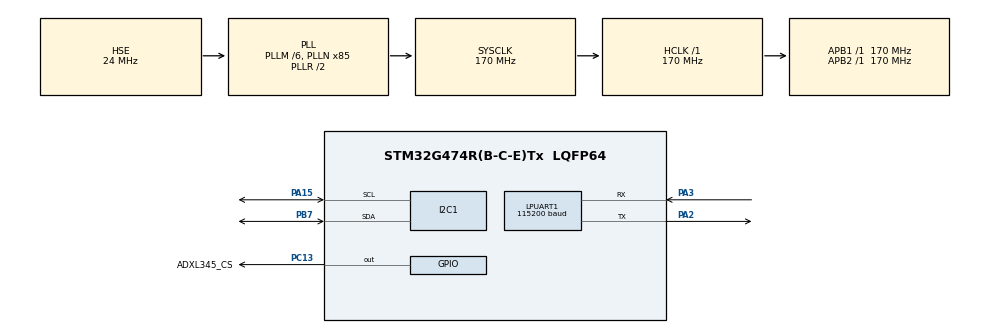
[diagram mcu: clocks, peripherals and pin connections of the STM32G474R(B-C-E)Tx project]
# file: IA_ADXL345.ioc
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FREERTOS.INCLUDE_vTaskDelayUntil=1
FREERTOS.Tasks01=defaultTask,0,256,StartDefaultTask,Default,NULL,Dynamic,NULL,NULL
FREERTOS.configENABLE_FPU=1
FREERTOS.configMINIMAL_STACK_SIZE=256
FREERTOS.configTOTAL_HEAP_SIZE=32768
FREERTOS.configUSE_NEWLIB_REENTRANT=1
I2C1.Timing=0x30A0A7FB
LPUART1.BaudRate=115200
Mcu.Family=STM32G4
Mcu.Name=STM32G474R(B-C-E)Tx
Mcu.Package=LQFP64
NVIC.I2C1_ER_IRQn=true\:5\:0\:false\:false\:true\:true\:true\:true\:true
NVIC.I2C1_EV_IRQn=true\:5\:0\:false\:false\:true\:true\:true\:true\:true
NVIC.LPUART1_IRQn=true\:5\:0\:false\:false\:true\:true\:true\:true\:true
NVIC.PriorityGroup=NVIC_PRIORITYGROUP_4
NVIC.TIM7_DAC_IRQn=true\:15\:0\:false\:false\:true\:false\:false\:true\:true
NVIC.TimeBase=TIM7_DAC_IRQn
NVIC.TimeBaseIP=TIM7
PA13.Mode=Serial_Wire
PA13.Signal=SYS_JTMS-SWDIO
PA14.Mode=Serial_Wire
PA14.Signal=SYS_JTCK-SWCLK
PA15.Mode=I2C
PA15.Signal=I2C1_SCL
PA2.Mode=Asynchronous
PA2.Signal=LPUART1_TX
PA3.Mode=Asynchronous
PA3.Signal=LPUART1_RX
PB7.Mode=I2C
PB7.Signal=I2C1_SDA
PC13.GPIO_Label=ADXL345_CS
PC13.PinState=GPIO_PIN_RESET
PC13.Signal=GPIO_Output
PF0-OSC_IN.Mode=HSE-External-Oscillator
PF0-OSC_IN.Signal=RCC_OSC_IN
PF1-OSC_OUT.Mode=HSE-External-Oscillator
PF1-OSC_OUT.Signal=RCC_OSC_OUT
ProjectManager.HeapSize=0x200
ProjectManager.StackSize=0x400
ProjectManager.TargetToolchain=STM32CubeIDE
RCC.ADC12Freq_Value=170000000
RCC.ADC345Freq_Value=170000000
RCC.AHBFreq_Value=170000000
RCC.APB1Freq_Value=170000000
RCC.APB1TimFreq_Value=170000000
RCC.APB2Freq_Value=170000000
RCC.APB2TimFreq_Value=170000000
RCC.CortexFreq_Value=170000000
RCC.EXTERNAL_CLOCK_VALUE=12288000
RCC.HCLKFreq_Value=170000000
RCC.HSE_VALUE=24000000
RCC.HSI48_VALUE=48000000
RCC.HSI_VALUE=16000000
RCC.LSE_VALUE=32768
RCC.PLLM=RCC_PLLM_DIV6
RCC.PLLN=85
RCC.PLLSourceVirtual=RCC_PLLSOURCE_HSE
RCC.SYSCLKFreq_VALUE=170000000
RCC.SYSCLKSource=RCC_SYSCLKSOURCE_PLLCLK
RCC.USBFreq_Value=170000000
RCC.VCOOutputFreq_Value=340000000
VP_FREERTOS_VS_CMSIS_V1.Mode=CMSIS_V1
VP_SYS_VS_tim7.Mode=TIM7
board=custom

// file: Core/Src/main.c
/* USER CODE BEGIN Header */
/**
  ******************************************************************************
  * @file           : main.c
  * @brief          : Main program body
  ******************************************************************************
  * @attention
  *
  * Copyright (c) 2023 STMicroelectronics.
  * All rights reserved.
  *
  * This software is licensed under terms that can be found in the LICENSE file
  * in the root directory of this software component.
  * If no LICENSE file comes with this software, it is provided AS-IS.
  *
  ******************************************************************************
  */
/* USER CODE END Header */
#include "main.h"
#include "cmsis_os.h"

/* USER CODE BEGIN Includes */
#include "adxl345.h"
#include "print_service.h"
#include <stdio.h>
#include "edge_impulse.h"
/* USER CODE END Includes */

/* USER CODE BEGIN PD */
#define DATA_ACQUISITION			1
#define EDGE_IMPULSE_INFERENCING	2

#define MODE EDGE_IMPULSE_INFERENCING
/* USER CODE END PD */

I2C_HandleTypeDef hi2c1;

UART_HandleTypeDef hlpuart1;

osThreadId defaultTaskHandle;

void SystemClock_Config(void);
static void MX_GPIO_Init(void);
static void MX_I2C1_Init(void);
static void MX_LPUART1_UART_Init(void);
void StartDefaultTask(void const * argument);

int main(void)
{

  /* MCU Configuration--------------------------------------------------------*/

  /* Reset of all peripherals, Initializes the Flash interface and the Systick. */
  HAL_Init();

  /* Configure the system clock */
  SystemClock_Config();

  /* Initialize all configured peripherals */
  MX_GPIO_Init();
  MX_I2C1_Init();
  MX_LPUART1_UART_Init();
  /* USER CODE BEGIN 2 */
  print_service_init(2);
  /* USER CODE END 2 */

  /* Create the thread(s) */
  /* definition and creation of defaultTask */
  osThreadDef(defaultTask, StartDefaultTask, osPriorityNormal, 0, 256);
  defaultTaskHandle = osThreadCreate(osThread(defaultTask), NULL);

  /* USER CODE BEGIN RTOS_THREADS */
  /* add threads, ... */
#if MODE == EDGE_IMPULSE_INFERENCING
  xTaskCreate(Task_edge_impulse, "Edge Impulse", 4*1024, NULL, 1, NULL);
#endif
  /* USER CODE END RTOS_THREADS */

  /* Start scheduler */
  osKernelStart();

  /* We should never get here as control is now taken by the scheduler */
  /* Infinite loop */
  while (1)
  {

  }
}

void SystemClock_Config(void)
{
  RCC_OscInitTypeDef RCC_OscInitStruct = {0};
  RCC_ClkInitTypeDef RCC_ClkInitStruct = {0};

  /** Configure the main internal regulator output voltage
  */
  HAL_PWREx_ControlVoltageScaling(PWR_REGULATOR_VOLTAGE_SCALE1_BOOST);

  /** Initializes the RCC Oscillators according to the specified parameters
  * in the RCC_OscInitTypeDef structure.
  */
  RCC_OscInitStruct.OscillatorType = RCC_OSCILLATORTYPE_HSE;
  RCC_OscInitStruct.HSEState = RCC_HSE_ON;
  RCC_OscInitStruct.PLL.PLLState = RCC_PLL_ON;
  RCC_OscInitStruct.PLL.PLLSource = RCC_PLLSOURCE_HSE;
  RCC_OscInitStruct.PLL.PLLM = RCC_PLLM_DIV6;
  RCC_OscInitStruct.PLL.PLLN = 85;
  RCC_OscInitStruct.PLL.PLLP = RCC_PLLP_DIV2;
  RCC_OscInitStruct.PLL.PLLQ = RCC_PLLQ_DIV2;
  RCC_OscInitStruct.PLL.PLLR = RCC_PLLR_DIV2;
  if (HAL_RCC_OscConfig(&RCC_OscInitStruct) != HAL_OK)
  {
    Error_Handler();
  }

  /** Initializes the CPU, AHB and APB buses clocks
  */
  RCC_ClkInitStruct.ClockType = RCC_CLOCKTYPE_HCLK|RCC_CLOCKTYPE_SYSCLK
                              |RCC_CLOCKTYPE_PCLK1|RCC_CLOCKTYPE_PCLK2;
  RCC_ClkInitStruct.SYSCLKSource = RCC_SYSCLKSOURCE_PLLCLK;
  RCC_ClkInitStruct.AHBCLKDivider = RCC_SYSCLK_DIV1;
  RCC_ClkInitStruct.APB1CLKDivider = RCC_HCLK_DIV1;
  RCC_ClkInitStruct.APB2CLKDivider = RCC_HCLK_DIV1;

  if (HAL_RCC_ClockConfig(&RCC_ClkInitStruct, FLASH_LATENCY_4) != HAL_OK)
  {
    Error_Handler();
  }
}

static void MX_I2C1_Init(void)
{

  hi2c1.Instance = I2C1;
  hi2c1.Init.Timing = 0x30A0A7FB;
  hi2c1.Init.OwnAddress1 = 0;
  hi2c1.Init.AddressingMode = I2C_ADDRESSINGMODE_7BIT;
  hi2c1.Init.DualAddressMode = I2C_DUALADDRESS_DISABLE;
  hi2c1.Init.OwnAddress2 = 0;
  hi2c1.Init.OwnAddress2Masks = I2C_OA2_NOMASK;
  hi2c1.Init.GeneralCallMode = I2C_GENERALCALL_DISABLE;
  hi2c1.Init.NoStretchMode = I2C_NOSTRETCH_DISABLE;
  if (HAL_I2C_Init(&hi2c1) != HAL_OK)
  {
    Error_Handler();
  }

  /** Configure Analogue filter
  */
  if (HAL_I2CEx_ConfigAnalogFilter(&hi2c1, I2C_ANALOGFILTER_ENABLE) != HAL_OK)
  {
    Error_Handler();
  }

  /** Configure Digital filter
  */
  if (HAL_I2CEx_ConfigDigitalFilter(&hi2c1, 0) != HAL_OK)
  {
    Error_Handler();
  }

}

static void MX_LPUART1_UART_Init(void)
{

  hlpuart1.Instance = LPUART1;
  hlpuart1.Init.BaudRate = 115200;
  hlpuart1.Init.WordLength = UART_WORDLENGTH_8B;
  hlpuart1.Init.StopBits = UART_STOPBITS_1;
  hlpuart1.Init.Parity = UART_PARITY_NONE;
  hlpuart1.Init.Mode = UART_MODE_TX_RX;
  hlpuart1.Init.HwFlowCtl = UART_HWCONTROL_NONE;
  hlpuart1.Init.OneBitSampling = UART_ONE_BIT_SAMPLE_DISABLE;
  hlpuart1.Init.ClockPrescaler = UART_PRESCALER_DIV1;
  hlpuart1.AdvancedInit.AdvFeatureInit = UART_ADVFEATURE_NO_INIT;
  if (HAL_UART_Init(&hlpuart1) != HAL_OK)
  {
    Error_Handler();
  }
  if (HAL_UARTEx_SetTxFifoThreshold(&hlpuart1, UART_TXFIFO_THRESHOLD_1_8) != HAL_OK)
  {
    Error_Handler();
  }
  if (HAL_UARTEx_SetRxFifoThreshold(&hlpuart1, UART_RXFIFO_THRESHOLD_1_8) != HAL_OK)
  {
    Error_Handler();
  }
  if (HAL_UARTEx_DisableFifoMode(&hlpuart1) != HAL_OK)
  {
    Error_Handler();
  }

}

static void MX_GPIO_Init(void)
{
  GPIO_InitTypeDef GPIO_InitStruct = {0};

  /* GPIO Ports Clock Enable */
  __HAL_RCC_GPIOC_CLK_ENABLE();
  __HAL_RCC_GPIOF_CLK_ENABLE();
  __HAL_RCC_GPIOA_CLK_ENABLE();
  __HAL_RCC_GPIOB_CLK_ENABLE();

  /*Configure GPIO pin Output Level */
  HAL_GPIO_WritePin(ADXL345_CS_GPIO_Port, ADXL345_CS_Pin, GPIO_PIN_RESET);

  /*Configure GPIO pin : ADXL345_CS_Pin */
  GPIO_InitStruct.Pin = ADXL345_CS_Pin;
  GPIO_InitStruct.Mode = GPIO_MODE_OUTPUT_PP;
  GPIO_InitStruct.Pull = GPIO_NOPULL;
  GPIO_InitStruct.Speed = GPIO_SPEED_FREQ_LOW;
  HAL_GPIO_Init(ADXL345_CS_GPIO_Port, &GPIO_InitStruct);

}

void StartDefaultTask(void const * argument)
{
  /* USER CODE BEGIN 5 */
#if MODE == DATA_ACQUISITION
  float x, y, z;
  char buffer[64];
  //print_service_send("\033[2J\033[H",0,10);
  //print_service_send("Initializing ADXL345 ...\r", 0, 10);
  print_service_send("timestamp,accX,AccY,AccZ\n\r", 0, 10);
  adxl_init(res_8g);

  TickType_t start_time = xTaskGetTickCount();
  /* Infinite loop */
  for(;;)
  {
	TickType_t previous_wake_time = xTaskGetTickCount();
	TickType_t time = xTaskGetTickCount() - start_time;
	if (adxl_readxyz_in_g(&x, &y, &z) == HAL_OK){
		//sprintf(buffer, "ADXL345 - x: %fg, y: %fg, z: %fg\n\r", x, y, z);
		sprintf(buffer, "%d,%f,%f,%f\n\r", (int)time, x, y, z);
		print_service_send(buffer, 0, 10);
	}else{
		print_service_send("Failure to read ADXL345 ...\r\n", 0, 10);
	}
	vTaskDelayUntil(&previous_wake_time, 10);

  }
#endif
#if MODE == EDGE_IMPULSE_INFERENCING
  float x, y, z;
  //char buffer[64];
  float feature_data[100];
  int32_t idx = 0;
  print_service_send("\033[2J\033[H",0,10);
  print_service_send("Initializing ADXL345 ...\r", 0, 10);
  adxl_init(res_8g);

  /* Infinite loop */
  for(;;)
  {
	TickType_t previous_wake_time = xTaskGetTickCount();
	if (adxl_readxyz_in_g(&x, &y, &z) == HAL_OK){
		//sprintf(buffer, "ADXL345 - x: %fg, y: %fg, z: %fg\n\r", x, y, z);
		//print_service_send(buffer, 0, 10);
		feature_data[idx++] = x;
		if (idx >= 100){
			idx = 0;
			raw_feature_set_data(feature_data);
			xSemaphoreGive(sem_new_data);
		}
	}else{
		print_service_send("Failure to read ADXL345 ...\r\n", 0, 10);
	}
	vTaskDelayUntil(&previous_wake_time, 10);

  }
#endif
  /* USER CODE END 5 */
}

void HAL_TIM_PeriodElapsedCallback(TIM_HandleTypeDef *htim)
{
  if (htim->Instance == TIM7) {
    HAL_IncTick();
  }
}

void Error_Handler(void)
{
  __disable_irq();
  while (1)
  {
  }
}
